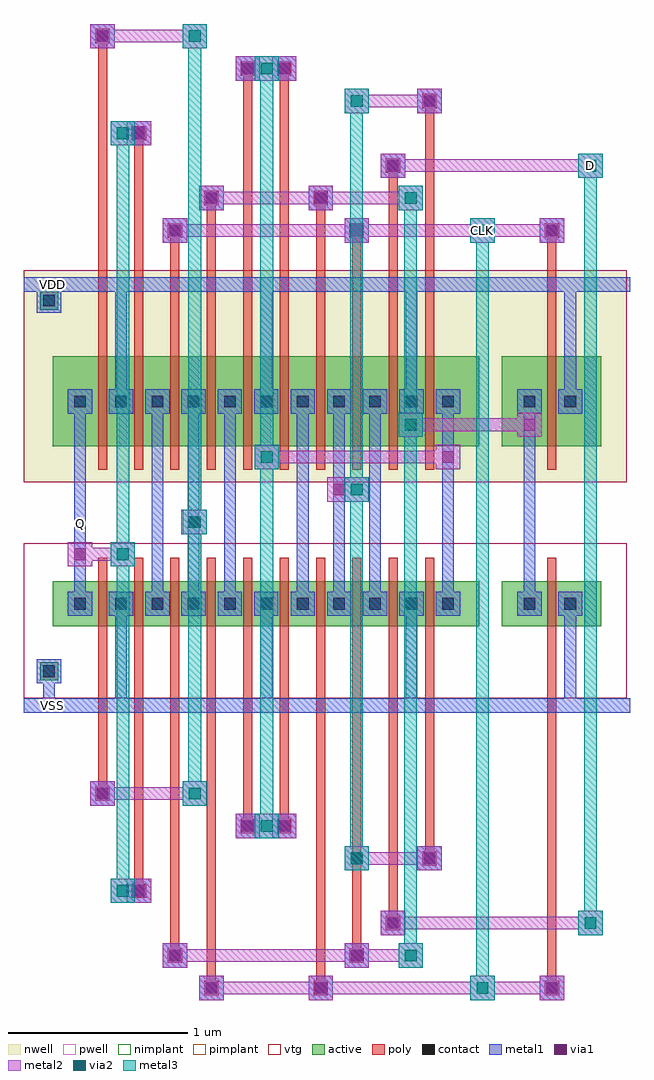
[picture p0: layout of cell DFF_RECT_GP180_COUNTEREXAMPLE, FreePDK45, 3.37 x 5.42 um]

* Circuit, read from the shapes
.subckt DFF_RECT_GP180_COUNTEREXAMPLE CLK D Q VDD VSS
M1 VSS n1 Q VSS nfet w=0.25u l=0.05u
M2 n2 Q VSS VSS nfet w=0.25u l=0.05u
M3 n1 n3 n2 VSS nfet w=0.25u l=0.05u
M4 n4 CLK n1 VSS nfet w=0.25u l=0.05u
M5 VSS n5 n4 VSS nfet w=0.25u l=0.05u
M6 n6 n5 VSS VSS nfet w=0.25u l=0.05u
M7 n7 CLK n6 VSS nfet w=0.25u l=0.05u
M8 n8 n3 n7 VSS nfet w=0.25u l=0.05u
M9 VSS D n8 VSS nfet w=0.25u l=0.05u
M10 n5 n7 VSS VSS nfet w=0.25u l=0.05u
M11 VSS CLK n3 VSS nfet w=0.25u l=0.05u
M12 VDD n1 Q VDD pfet w=0.5u l=0.05u
M13 n2 Q VDD VDD pfet w=0.5u l=0.05u
M14 n1 CLK n2 VDD pfet w=0.5u l=0.05u
M15 n4 n3 n1 VDD pfet w=0.5u l=0.05u
M16 VDD n5 n4 VDD pfet w=0.5u l=0.05u
M17 n6 n5 VDD VDD pfet w=0.5u l=0.05u
M18 n7 n3 n6 VDD pfet w=0.5u l=0.05u
M19 n8 CLK n7 VDD pfet w=0.5u l=0.05u
M20 VDD D n8 VDD pfet w=0.5u l=0.05u
M21 n5 n7 VDD VDD pfet w=0.5u l=0.05u
M22 VDD CLK n3 VDD pfet w=0.5u l=0.05u
.ends

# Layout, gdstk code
import gdstk
lib = gdstk.Library(unit=1e-6, precision=2.5e-09)
def R(c, l, rs):  # rectangles x0, y0, x1, y1
    for r in rs: c.add(gdstk.rectangle(r[:2], r[2:], *l))
def A(c, l, x, y, w, h, nx, ny, dx, dy):  # array of equal rectangles
    R(c, l, [(x+i*dx, y+j*dy, x+i*dx+w, y+j*dy+h) for i in range(nx) for j in range(ny)])
active = (1, 0)
pwell = (2, 0)
nwell = (3, 0)
nimplant = (4, 0)
pimplant = (5, 0)
vtg = (6, 0)
poly = (9, 0)
contact = (10, 0)
metal1 = (11, 0)
via1 = (12, 0)
metal2 = (13, 0)
via2 = (14, 0)
metal3 = (15, 0)

dff_rect_gp180_counterex = lib.new_cell('DFF_RECT_GP180_COUNTEREXAMPLE')
R(dff_rect_gp180_counterex, active, [(0.09,0.18,0.19,0.28), (0.16,0.48,2.5325,0.73), (2.6575,0.48,3.21,0.73), (0.16,1.48,2.5325,1.98), (2.6575,1.48,3.21,1.98), (0.09,2.24,0.19,2.34)])
R(dff_rect_gp180_counterex, pwell, [(0,0.08,3.35,0.94), (0.02,0.24,3.35,0.94)])
R(dff_rect_gp180_counterex, nwell, [(0,1.28,3.35,2.46), (0.02,1.28,3.35,2.2)])
R(dff_rect_gp180_counterex, nimplant, [(0.16,0.48,2.5325,0.73), (2.6575,0.48,3.21,0.73), (0.09,2.24,0.19,2.34)])
R(dff_rect_gp180_counterex, pimplant, [(0.09,0.18,0.19,0.28), (0.16,1.48,2.5325,1.98), (2.6575,1.48,3.21,1.98)])
R(dff_rect_gp180_counterex, vtg, [(0,0.08,3.35,0.94), (0.02,0.24,3.35,0.94), (0,1.28,3.35,2.46), (0.02,1.28,3.35,2.2)])
A(dff_rect_gp180_counterex, poly, 0.815, 0.35, 0.05, 0.51, 5, 1, 0.2025, 0)
A(dff_rect_gp180_counterex, poly, 1.825, 0.35, 0.05, 0.51, 3, 1, 0.2025, 0)
A(dff_rect_gp180_counterex, poly, 0.815, 1.35, 0.05, 0.76, 5, 1, 0.2025, 0)
A(dff_rect_gp180_counterex, poly, 1.825, 1.35, 0.05, 0.76, 3, 1, 0.2025, 0)
R(dff_rect_gp180_counterex, poly, [(1.0025,-1.57,1.0825,-1.49), (1.0175,-1.57,1.0675,0.35), (1.61,-1.57,1.69,-1.49), (1.625,-1.57,1.675,0.35), (2.895,-1.57,2.975,-1.49), (2.91,-1.57,2.96,0.35), (0.8,-1.39,0.88,-1.31), (0.815,-1.39,0.865,0.35), (1.81,-1.39,1.89,-1.31), (1.825,-1.39,1.875,0.35), (2.0125,-1.21,2.0925,-1.13), (2.0275,-1.21,2.0775,0.35), (0.6,-1.03,0.68,-0.95), (0.615,-1.03,0.665,0.35), (2.215,-0.85,2.295,-0.77), (2.23,-0.85,2.28,0.35), (1.205,-0.67,1.285,-0.59), (1.22,-0.67,1.27,0.35), (1.4075,-0.67,1.4875,-0.59), (1.4225,-0.67,1.4725,0.35), (0.3975,-0.49,0.4775,-0.41), (0.4125,-0.49,0.4625,0.35), (0.4125,0.35,0.4625,0.86), (0.615,0.35,0.665,0.86), (2.91,0.35,2.96,0.86), (0.4125,1.35,0.4625,2.11), (0.615,1.35,0.665,2.11), (2.91,1.35,2.96,2.11), (0.4125,2.11,0.4625,3.8), (0.615,2.11,0.665,3.26), (0.815,2.11,0.865,2.72), (1.0175,2.11,1.0675,2.9), (1.22,2.11,1.27,3.62), (1.4225,2.11,1.4725,3.62), (1.625,2.11,1.675,2.9), (1.825,2.11,1.875,2.72), (2.0275,2.11,2.0775,3.08), (2.23,2.11,2.28,3.44), (2.91,2.11,2.96,2.72), (0.8,2.64,0.88,2.72), (1.81,2.64,1.89,2.72), (2.895,2.64,2.975,2.72), (1.0025,2.82,1.0825,2.9), (1.61,2.82,1.69,2.9), (2.0125,3,2.0925,3.08), (0.6,3.18,0.68,3.26), (2.215,3.36,2.295,3.44), (1.205,3.54,1.285,3.62), (1.4075,3.54,1.4875,3.62), (0.3975,3.72,0.4775,3.8)])
A(dff_rect_gp180_counterex, contact, 0.91, 0.5725, 0.065, 0.065, 5, 2, 0.2025, 1.125)
A(dff_rect_gp180_counterex, contact, 1.92, 0.5725, 0.065, 0.065, 3, 2, 0.2025, 1.125)
R(dff_rect_gp180_counterex, contact, [(1.01,-1.5625,1.075,-1.4975), (1.6175,-1.5625,1.6825,-1.4975), (2.9025,-1.5625,2.9675,-1.4975), (0.8075,-1.3825,0.8725,-1.3175), (1.8175,-1.3825,1.8825,-1.3175), (2.02,-1.2025,2.085,-1.1375), (0.6075,-1.0225,0.6725,-0.9575), (2.2225,-0.8425,2.2875,-0.7775), (1.2125,-0.6625,1.2775,-0.5975), (1.415,-0.6625,1.48,-0.5975), (0.405,-0.4825,0.47,-0.4175), (0.1075,0.1975,0.1725,0.2625), (0.28,0.5725,0.345,0.6375), (0.5075,0.5725,0.5725,0.6375), (0.71,0.5725,0.775,0.6375), (2.7775,0.5725,2.8425,0.6375), (3.005,0.5725,3.07,0.6375), (0.28,1.6975,0.345,1.7625), (0.5075,1.6975,0.5725,1.7625), (0.71,1.6975,0.775,1.7625), (2.7775,1.6975,2.8425,1.7625), (3.005,1.6975,3.07,1.7625), (0.1075,2.2575,0.1725,2.3225), (0.8075,2.6475,0.8725,2.7125), (1.8175,2.6475,1.8825,2.7125), (2.9025,2.6475,2.9675,2.7125), (1.01,2.8275,1.075,2.8925), (1.6175,2.8275,1.6825,2.8925), (2.02,3.0075,2.085,3.0725), (0.6075,3.1875,0.6725,3.2525), (2.2225,3.3675,2.2875,3.4325), (1.2125,3.5475,1.2775,3.6125), (1.415,3.5475,1.48,3.6125), (0.405,3.7275,0.47,3.7925)])
A(dff_rect_gp180_counterex, metal1, 0.5075, 0.04, 0.065, 0.565, 3, 1, 0.8075, 0)
A(dff_rect_gp180_counterex, metal1, 0.875, 0.5375, 0.135, 0.135, 5, 2, 0.2025, 1.125)
A(dff_rect_gp180_counterex, metal1, 1.885, 0.5375, 0.135, 0.135, 3, 2, 0.2025, 1.125)
A(dff_rect_gp180_counterex, metal1, 0.5075, 1.73, 0.065, 0.65, 3, 1, 0.8075, 0)
R(dff_rect_gp180_counterex, metal1, [(0.975,-1.5975,1.11,-1.4625), (1.5825,-1.5975,1.7175,-1.4625), (2.8675,-1.5975,3.0025,-1.4625), (0.7725,-1.4175,0.9075,-1.2825), (1.7825,-1.4175,1.9175,-1.2825), (1.985,-1.2375,2.12,-1.1025), (0.5725,-1.0575,0.7075,-0.9225), (2.1875,-0.8775,2.3225,-0.7425), (1.1775,-0.6975,1.3125,-0.5625), (1.38,-0.6975,1.515,-0.5625), (0.37,-0.5175,0.505,-0.3825), (0,0,3.37,0.08), (0.1075,0.04,0.1725,0.23), (3.005,0.04,3.07,0.605), (0.0725,0.1625,0.2075,0.2975), (0.245,0.5375,0.38,0.6725), (0.4725,0.5375,0.6075,0.6725), (0.675,0.5375,0.81,0.6725), (2.7425,0.5375,2.8775,0.6725), (2.97,0.5375,3.105,0.6725), (0.28,0.605,0.345,1.73), (0.71,0.605,0.775,1.73), (0.91,0.605,0.975,1.73), (1.1125,0.605,1.1775,1.73), (1.5175,0.605,1.5825,1.73), (1.72,0.605,1.785,1.73), (1.92,0.605,1.985,1.73), (2.325,0.605,2.39,1.73), (2.7775,0.605,2.8425,1.73), (0.245,1.6625,0.38,1.7975), (0.4725,1.6625,0.6075,1.7975), (0.675,1.6625,0.81,1.7975), (2.7425,1.6625,2.8775,1.7975), (2.97,1.6625,3.105,1.7975), (3.005,1.73,3.07,2.38), (0.0725,2.2225,0.2075,2.3575), (0.1075,2.29,0.1725,2.38), (0,2.34,3.37,2.42), (0.7725,2.6125,0.9075,2.7475), (1.7825,2.6125,1.9175,2.7475), (2.8675,2.6125,3.0025,2.7475), (0.975,2.7925,1.11,2.9275), (1.5825,2.7925,1.7175,2.9275), (1.985,2.9725,2.12,3.1075), (0.5725,3.1525,0.7075,3.2875), (2.1875,3.3325,2.3225,3.4675), (1.1775,3.5125,1.3125,3.6475), (1.38,3.5125,1.515,3.6475), (0.37,3.6925,0.505,3.8275)])
R(dff_rect_gp180_counterex, via1, [(1.01,-1.5625,1.075,-1.4975), (1.6175,-1.5625,1.6825,-1.4975), (2.9025,-1.5625,2.9675,-1.4975), (0.8075,-1.3825,0.8725,-1.3175), (1.8175,-1.3825,1.8825,-1.3175), (2.02,-1.2025,2.085,-1.1375), (0.6075,-1.0225,0.6725,-0.9575), (2.2225,-0.8425,2.2875,-0.7775), (1.2125,-0.6625,1.2775,-0.5975), (1.415,-0.6625,1.48,-0.5975), (0.405,-0.4825,0.47,-0.4175), (0.28,0.8475,0.345,0.9125), (0.91,1.0275,0.975,1.0925), (1.72,1.2075,1.785,1.2725), (2.325,1.3875,2.39,1.4525), (2.7775,1.5675,2.8425,1.6325), (0.8075,2.6475,0.8725,2.7125), (1.8175,2.6475,1.8825,2.7125), (2.9025,2.6475,2.9675,2.7125), (1.01,2.8275,1.075,2.8925), (1.6175,2.8275,1.6825,2.8925), (2.02,3.0075,2.085,3.0725), (0.6075,3.1875,0.6725,3.2525), (2.2225,3.3675,2.2875,3.4325), (1.2125,3.5475,1.2775,3.6125), (1.415,3.5475,1.48,3.6125), (0.405,3.7275,0.47,3.7925)])
R(dff_rect_gp180_counterex, metal2, [(0.975,-1.5975,1.11,-1.4625), (1.5825,-1.5975,1.7175,-1.4625), (2.4825,-1.5975,2.6175,-1.4625), (2.4825,-1.5975,2.6175,-1.4625), (2.4825,-1.5975,2.6175,-1.4625), (2.8675,-1.5975,3.0025,-1.4625), (1.0075,-1.565,2.585,-1.495), (1.615,-1.565,2.585,-1.495), (2.515,-1.565,2.97,-1.495), (0.7725,-1.4175,0.9075,-1.2825), (1.7825,-1.4175,1.9175,-1.2825), (2.0825,-1.4175,2.2175,-1.2825), (2.0825,-1.4175,2.2175,-1.2825), (0.805,-1.385,2.185,-1.315), (1.815,-1.385,2.185,-1.315), (1.985,-1.2375,2.12,-1.1025), (3.0825,-1.2375,3.2175,-1.1025), (2.0175,-1.205,3.185,-1.135), (0.4825,-1.0575,0.6175,-0.9225), (0.5725,-1.0575,0.7075,-0.9225), (0.515,-1.025,0.675,-0.955), (1.7825,-0.8775,1.9175,-0.7425), (2.1875,-0.8775,2.3225,-0.7425), (1.815,-0.845,2.29,-0.775), (1.1775,-0.6975,1.3125,-0.5625), (1.1775,-0.6975,1.4175,-0.5625), (1.2825,-0.6975,1.4175,-0.5625), (1.2825,-0.6975,1.4175,-0.5625), (1.38,-0.6975,1.515,-0.5625), (1.21,-0.665,1.385,-0.595), (1.315,-0.665,1.4825,-0.595), (0.37,-0.5175,0.505,-0.3825), (0.8825,-0.5175,1.0175,-0.3825), (0.4025,-0.485,0.985,-0.415), (0.245,0.8125,0.38,0.9475), (0.4825,0.8125,0.6175,0.9475), (0.2775,0.845,0.585,0.915), (0.875,0.9925,1.01,1.1275), (0.8825,0.9925,1.0175,1.1275), (0.9075,1.025,0.985,1.095), (1.685,1.1725,1.82,1.3075), (1.7825,1.1725,1.9175,1.3075), (1.7175,1.205,1.885,1.275), (1.2825,1.3525,1.4175,1.4875), (2.29,1.3525,2.425,1.4875), (1.315,1.385,2.3925,1.455), (2.0825,1.5325,2.2175,1.6675), (2.7425,1.5325,2.8775,1.6675), (2.115,1.565,2.845,1.635), (0.7725,2.6125,0.9075,2.7475), (1.7825,2.6125,1.9175,2.7475), (2.4825,2.6125,2.6175,2.7475), (2.4825,2.6125,2.6175,2.7475), (2.4825,2.6125,2.6175,2.7475), (2.8675,2.6125,3.0025,2.7475), (0.805,2.645,2.585,2.715), (1.815,2.645,2.585,2.715), (2.515,2.645,2.97,2.715), (0.975,2.7925,1.11,2.9275), (1.5825,2.7925,1.7175,2.9275), (2.0825,2.7925,2.2175,2.9275), (2.0825,2.7925,2.2175,2.9275), (1.0075,2.825,2.185,2.895), (1.615,2.825,2.185,2.895), (1.985,2.9725,2.12,3.1075), (3.0825,2.9725,3.2175,3.1075), (2.0175,3.005,3.185,3.075), (0.4825,3.1525,0.6175,3.2875), (0.5725,3.1525,0.7075,3.2875), (0.515,3.185,0.675,3.255), (1.7825,3.3325,1.9175,3.4675), (2.1875,3.3325,2.3225,3.4675), (1.815,3.365,2.29,3.435), (1.1775,3.5125,1.3125,3.6475), (1.1775,3.5125,1.4175,3.6475), (1.2825,3.5125,1.4175,3.6475), (1.2825,3.5125,1.4175,3.6475), (1.38,3.5125,1.515,3.6475), (1.21,3.545,1.385,3.615), (1.315,3.545,1.4825,3.615), (0.37,3.6925,0.505,3.8275), (0.8825,3.6925,1.0175,3.8275), (0.4025,3.725,0.985,3.795)])
R(dff_rect_gp180_counterex, via2, [(2.5175,-1.5625,2.5825,-1.4975), (2.1175,-1.3825,2.1825,-1.3175), (3.1175,-1.2025,3.1825,-1.1375), (0.5175,-1.0225,0.5825,-0.9575), (1.8175,-0.8425,1.8825,-0.7775), (1.3175,-0.6625,1.3825,-0.5975), (0.9175,-0.4825,0.9825,-0.4175), (0.5175,0.8475,0.5825,0.9125), (0.9175,1.0275,0.9825,1.0925), (1.8175,1.2075,1.8825,1.2725), (1.3175,1.3875,1.3825,1.4525), (2.1175,1.5675,2.1825,1.6325), (2.5175,2.6475,2.5825,2.7125), (2.1175,2.8275,2.1825,2.8925), (3.1175,3.0075,3.1825,3.0725), (0.5175,3.1875,0.5825,3.2525), (1.8175,3.3675,1.8825,3.4325), (1.3175,3.5475,1.3825,3.6125), (0.9175,3.7275,0.9825,3.7925)])
R(dff_rect_gp180_counterex, metal3, [(2.4825,-1.5975,2.6175,-1.4625), (2.515,-1.565,2.585,2.715), (2.0825,-1.4175,2.2175,-1.2825), (2.115,-1.385,2.185,2.895), (3.0825,-1.2375,3.2175,-1.1025), (3.115,-1.205,3.185,3.075), (0.4825,-1.0575,0.6175,-0.9225), (0.515,-1.025,0.585,3.255), (1.7825,-0.8775,1.9175,-0.7425), (1.815,-0.845,1.885,3.435), (1.2825,-0.6975,1.4175,-0.5625), (1.315,-0.665,1.385,3.615), (0.8825,-0.5175,1.0175,-0.3825), (0.915,-0.485,0.985,3.795), (0.4825,0.8125,0.6175,0.9475), (0.8825,0.9925,1.0175,1.1275), (1.7825,1.1725,1.9175,1.3075), (1.2825,1.3525,1.4175,1.4875), (2.0825,1.5325,2.2175,1.6675), (2.4825,2.6125,2.6175,2.7475), (2.0825,2.7925,2.2175,2.9275), (3.0825,2.9725,3.2175,3.1075), (0.4825,3.1525,0.6175,3.2875), (1.7825,3.3325,1.9175,3.4675), (1.2825,3.5125,1.4175,3.6475), (0.8825,3.6925,1.0175,3.8275)])
dff_rect_gp180_counterex.add(gdstk.Label('VDD', (0.16,2.38), layer=11, texttype=0))
dff_rect_gp180_counterex.add(gdstk.Label('VSS', (0.16,0.04), layer=11, texttype=0))
dff_rect_gp180_counterex.add(gdstk.Label('Q', (0.3125,1.05), layer=11, texttype=0))
dff_rect_gp180_counterex.add(gdstk.Label('CLK', (2.55,2.68), layer=15, texttype=0))
dff_rect_gp180_counterex.add(gdstk.Label('D', (3.15,3.04), layer=15, texttype=0))

lib.write_gds('DFF_RECT_GP180_COUNTEREXAMPLE.gds')
